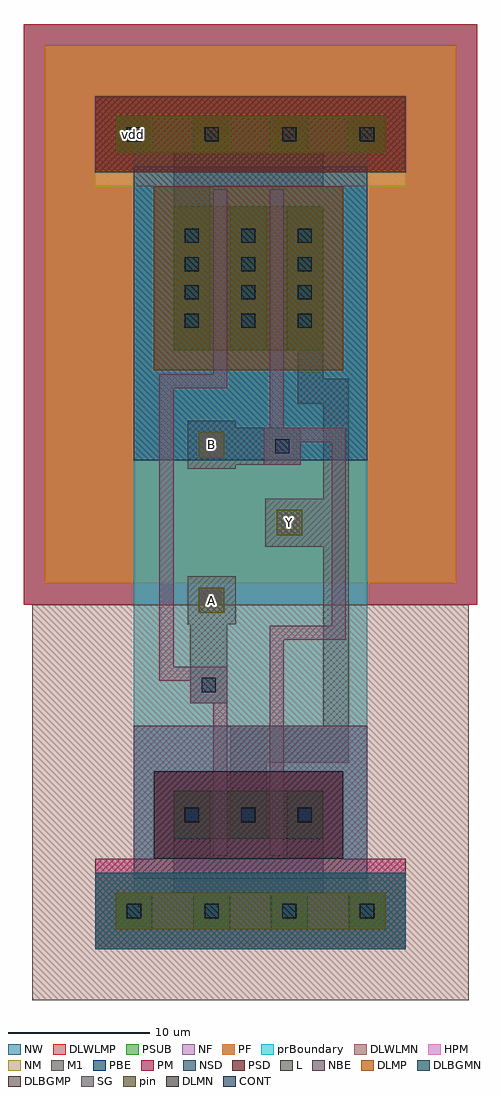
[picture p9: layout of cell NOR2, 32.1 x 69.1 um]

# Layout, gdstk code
import gdstk
lib = gdstk.Library(unit=1e-6, precision=1e-09)
def R(c, l, rs):  # rectangles x0, y0, x1, y1
    for r in rs: c.add(gdstk.rectangle(r[:2], r[2:], *l))
def A(c, l, x, y, w, h, nx, ny, dx, dy):  # array of equal rectangles
    R(c, l, [(x+i*dx, y+j*dy, x+i*dx+w, y+j*dy+h) for i in range(nx) for j in range(ny)])
def P(c, l, *ps):  # polygons
    for p in ps: c.add(gdstk.Polygon(p, *l))
L = (3, 0)
NM = (7, 0)
SG = (8, 0)
PSD = (9, 0)
CONT = (11, 0)
M1 = (13, 0)
NF = (25, 0)
PF = (26, 0)
NSD = (28, 0)
HPM = (33, 0)
PM = (35, 0)
NW = (36, 0)
pin = (48, 1)
PSUB = (140, 0)
PBE = (146, 0)
NBE = (147, 0)
DLWLMP = (150, 0)
DLWLMN = (151, 0)
DLMP = (157, 0)
DLMN = (158, 0)
DLBGMP = (177, 0)
DLBGMN = (178, 0)
prBoundary = (235, 0)

nor2 = lib.new_cell('NOR2')
A(nor2, L, -1.3, -1.3, 2.6, 2.6, 4, 2, 5.5, 55)
R(nor2, L, [(2.8,5.1,13.4,8.5), (2.8,39.7,13.4,49.9)])
R(nor2, NM, [(-2.75,-2.7,19.25,2.7)])
P(nor2, NM, [(1.4,38.3),(1.4,51.3),(-2.75,51.3),(-2.75,57.7),(19.25,57.7),(19.25,51.3),(14.8,51.3),(14.8,38.3)])
P(nor2, SG, [(5.6,3.9),(5.6,14.7),(4,14.7),(4,16.3),(1.8,16.3),(1.8,38),(5.6,38),(5.6,51.1),(6.6,51.1),(6.6,37),(2.8,37),(2.8,17.3),(6.6,17.3),(6.6,3.9)],
  [(9.6,3.9),(9.6,20.2),(14,20.2),(14,33.2),(11.8,33.2),(11.8,31.6),(9.2,31.6),(9.2,34.2),(9.6,34.2),(9.6,51.1),(10.6,51.1),(10.6,34.2),(15,34.2),(15,19.2),(10.6,19.2),(10.6,3.9)])
R(nor2, PSD, [(1.4,3.7,14.8,9.9), (-2.75,52.3,19.25,57.7)])
A(nor2, CONT, -0.5, -0.5, 1, 1, 4, 2, 5.5, 55)
A(nor2, CONT, 11.6, 41.3, 1, 1, 1, 4, 0, 2)
R(nor2, CONT, [(3.6,6.3,4.6,7.3), (7.6,6.3,8.6,7.3), (7.6,6.3,8.6,7.3), (11.6,6.3,12.6,7.3), (4.8,15.5,5.8,16.5), (10,32.4,11,33.4), (3.6,41.3,4.6,42.3), (3.6,41.3,4.6,42.3), (3.6,41.3,4.6,42.3), (7.6,41.3,8.6,42.3), (7.6,41.3,8.6,42.3), (7.6,41.3,8.6,42.3), (7.6,41.3,8.6,42.3), (3.6,43.3,4.6,44.3), (3.6,43.3,4.6,44.3), (3.6,43.3,4.6,44.3), (7.6,43.3,8.6,44.3), (7.6,43.3,8.6,44.3), (7.6,43.3,8.6,44.3), (7.6,43.3,8.6,44.3), (3.6,45.3,4.6,46.3), (3.6,45.3,4.6,46.3), (3.6,45.3,4.6,46.3), (7.6,45.3,8.6,46.3), (7.6,45.3,8.6,46.3), (7.6,45.3,8.6,46.3), (7.6,45.3,8.6,46.3), (3.6,47.3,4.6,48.3), (3.6,47.3,4.6,48.3), (3.6,47.3,4.6,48.3), (7.6,47.3,8.6,48.3), (7.6,47.3,8.6,48.3), (7.6,47.3,8.6,48.3), (7.6,47.3,8.6,48.3)])
R(nor2, M1, [(6.8,39.7,9.4,49.9)])
P(nor2, M1, [(-1.3,-1.3),(-1.3,1.3),(2.8,1.3),(2.8,8.5),(5.4,8.5),(5.4,3.7),(10.8,3.7),(10.8,8.5),(13.4,8.5),(13.4,1.3),(17.8,1.3),(17.8,-1.3)],
  [(4,14.7),(4,20.3),(3.8,20.3),(3.8,23.7),(7.2,23.7),(7.2,20.3),(6.6,20.3),(6.6,14.7)],
  [(3.8,31.3),(3.8,34.7),(7.2,34.7),(7.2,34.2),(11.8,34.2),(11.8,31.6),(7.2,31.6),(7.2,31.3)],
  [(6.8,5.1),(6.8,13.1),(13.4,13.1),(13.4,25.8),(9.3,25.8),(9.3,29.2),(13.4,29.2),(13.4,35.9),(11.6,35.9),(11.6,39.7),(10.8,39.7),(10.8,49.9),(13.4,49.9),(13.4,37.7),(15.2,37.7),(15.2,10.5),(9.4,10.5),(9.4,5.1)],
  [(2.8,39.7),(2.8,53.7),(-1.3,53.7),(-1.3,56.3),(17.8,56.3),(17.8,53.7),(13.4,53.7),(13.4,51.3),(5.4,51.3),(5.4,39.7)])
R(nor2, NF, [(-6.3,23.2,22.8,61.3)])
R(nor2, PF, [(-6.3,23.2,22.8,61.3)])
R(nor2, NSD, [(-2.75,-2.7,19.25,2.7), (1.4,38.3,14.8,51.3)])
P(nor2, HPM, [(-2.75,-2.7),(-2.75,3.7),(1.4,3.7),(1.4,9.9),(14.8,9.9),(14.8,3.7),(19.25,3.7),(19.25,-2.7)],
  [(1.4,38.3),(1.4,51.3),(-2.75,51.3),(-2.75,57.7),(19.25,57.7),(19.25,51.3),(14.8,51.3),(14.8,38.3)])
R(nor2, PM, [(-2.75,52.3,19.25,57.7)])
P(nor2, PM, [(-2.75,-2.7),(-2.75,3.7),(1.4,3.7),(1.4,9.9),(14.8,9.9),(14.8,3.7),(19.25,3.7),(19.25,-2.7)])
R(nor2, NW, [(-7.8,21.7,24.3,62.8)])
R(nor2, pin, [(-1.3,-1.3,17.8,1.3), (4.6,21.1,6.4,22.9), (10.1,26.6,11.9,28.4), (4.6,32.1,6.4,33.9), (-1.3,53.7,17.8,56.3)])
R(nor2, PSUB, [(-6.3,23.2,22.8,61.3)])
R(nor2, PBE, [(0,31.9,16.5,52.7)])
R(nor2, NBE, [(0,2.3,16.5,13.1)])
R(nor2, DLWLMP, [(-7.8,21.7,24.3,62.8)])
R(nor2, DLWLMN, [(-7.2,-6.3,23.7,21.7)])
R(nor2, DLMP, [(1.4,38.3,14.8,51.3)])
R(nor2, DLMN, [(1.4,3.7,14.8,9.9)])
R(nor2, DLBGMP, [(-2.75,52.3,19.25,57.7)])
R(nor2, DLBGMN, [(-2.75,-2.7,19.25,2.7)])
R(nor2, prBoundary, [(0,0,16.5,55)])
nor2.add(gdstk.Label('A', (5.5,22), layer=48, texttype=0))
nor2.add(gdstk.Label('B', (5.5,33), layer=48, texttype=0))
nor2.add(gdstk.Label('Y', (11,27.5), layer=48, texttype=0))
nor2.add(gdstk.Label('vdd', (0,55), layer=48, texttype=0))

lib.write_gds('NOR2.gds')
